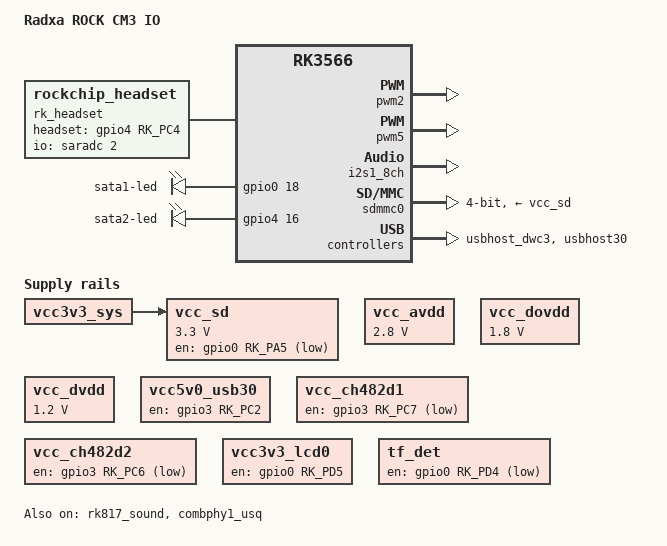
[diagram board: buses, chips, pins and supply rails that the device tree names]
// SPDX-License-Identifier: (GPL-2.0+ OR MIT)
/*
 * Copyright (c) 2020 Rockchip Electronics Co., Ltd.
 * Copyright (c) 2021 Radxa Limited.
 *
 */

/dts-v1/;

#include "rk3566-rock-compute-module-3.dtsi"
#include <dt-bindings/display/drm_mipi_dsi.h>
#include <dt-bindings/display/media-bus-format.h>
//#include "radxa-cm3-raspberrypi-7inch-touchscreen.dtsi"
#include "rk3566-rock-cm3io_219.dtsi"
//#include "rk3566-radxa-cm3io-edp.dtsi"
#include "rk3566-rock-cm3io-10inch-touchscreen.dtsi"
// #include "rk3566-rock-cm3io_8inch-touchscreen.dtsi"
// #include "rk3566-rock-cm3io_jymx1013833281be-display.dtsi"

/ {
	model = "Radxa ROCK CM3 IO";
	compatible = "radxa,rock-cm3-io", "rockchip,rk3566";

	rk_headset: rk-headset {
		compatible = "rockchip_headset";
		headset_gpio = <&gpio4 RK_PC4 GPIO_ACTIVE_HIGH>;
		pinctrl-names = "default";
		pinctrl-0 = <&hp_det>;
		io-channels = <&saradc 2>;    //HP_HOOK引脚
	};

	vcc_avdd: vcc-avdd {
		compatible = "regulator-fixed";
		regulator-name = "vcc_sys";
		regulator-always-on;
		regulator-boot-on;
		regulator-min-microvolt = <2800000>;
		regulator-max-microvolt = <2800000>;
	};

	vcc_dovdd: vcc-dovdd {
		compatible = "regulator-fixed";
		regulator-name = "vcc_sys";
		regulator-always-on;
		regulator-boot-on;
		regulator-min-microvolt = <1800000>;
		regulator-max-microvolt = <1800000>;
	};

	vcc_dvdd: vcc-dvdd {
		compatible = "regulator-fixed";
		regulator-name = "vcc_sys";
		regulator-always-on;
		regulator-boot-on;
		regulator-min-microvolt = <1200000>;
		regulator-max-microvolt = <1200000>;
	};

	vcc5v0_usb30: vcc5v0-usb30-regulator {
		compatible = "regulator-fixed";
		enable-active-high;
		gpio = <&gpio3 RK_PC2 GPIO_ACTIVE_HIGH>;
		pinctrl-names = "default";
		pinctrl-0 = <&vcc5v0_usb30_en>;
		regulator-name = "vcc5v0_usb30";
		regulator-always-on;
		regulator-boot-on;
	};

	vcc_ch482d1: vcc-ch482d1-regulator {
		compatible = "regulator-fixed";
		gpio = <&gpio3 RK_PC7 GPIO_ACTIVE_LOW>;
		pinctrl-names = "default";
		pinctrl-0 = <&ch482d_en1>;
		regulator-name = "vcc_ch482d1";
		regulator-always-on;
		regulator-boot-on;
	};

	vcc_ch482d2: vcc-ch482d2-regulator {
		compatible = "regulator-fixed";
		gpio = <&gpio3 RK_PC6 GPIO_ACTIVE_LOW>;
		pinctrl-names = "default";
		pinctrl-0 = <&ch482d_en2>;
		regulator-name = "vcc_ch482d2";
		regulator-always-on;
		regulator-boot-on;
	};

	vcc3v3_lcd0: vcc3v3-lcd0 {
		compatible = "regulator-fixed";
		regulator-name = "vcc3v3_lcd0";
		gpio = <&gpio0 RK_PD5 GPIO_ACTIVE_HIGH>;
		enable-active-high;
		regulator-boot-on;
		regulator-state-mem {
			regulator-off-in-suspend;
		};
	};

	vcc_sd: sdmmc-regulator {
		compatible = "regulator-fixed";
		gpio = <&gpio0 RK_PA5 GPIO_ACTIVE_LOW>;
		pinctrl-names = "default";
		pinctrl-0 = <&sdmmc_pwren>;
		regulator-name = "vcc_sd";
		regulator-min-microvolt = <3300000>;
		regulator-max-microvolt = <3300000>;
		startup-delay-us = <100000>;
		vin-supply = <&vcc3v3_sys>;
	};

	tf_det: tf-det-regulator {
		compatible = "regulator-fixed";
		enable-active-low;
		gpio = <&gpio0 RK_PD4 GPIO_ACTIVE_LOW>;
		pinctrl-names = "default";
		pinctrl-0 = <&tf_det_en>;
		regulator-name = "tf_det";
		regulator-always-on;
		regulator-boot-on;
	};

	gpio_leds: gpio-leds {
		compatible = "gpio-leds";
		status = "okay";


		sata1-led {
			gpios = <&gpio0 18 GPIO_ACTIVE_HIGH>;
			linux,default-trigger = "nand-disk";
			default-state = "on";
			pinctrl-0 = <&sata1_led>;
		};

		sata2-led {
			gpios = <&gpio4 16 GPIO_ACTIVE_HIGH>;
			linux,default-trigger = "nand-disk";
			default-state = "on";
			pinctrl-0 = <&sata2_led>;
		};
	};
};

&pwm2 {
	status = "okay";	
};

&pwm5 {
	status = "okay";	
};

&rk817_sound {
	status = "okay";
};

&i2s1_8ch {
	status = "okay";
};

&pmu_io_domains {
	/delete-property/ vccio2-supply;
};

&sdmmc0 {
	max-frequency = <150000000>;
	supports-sd;
	bus-width = <4>;
	cap-mmc-highspeed;
	cap-sd-highspeed;
	disable-wp;

	vmmc-supply = <&vcc_sd>;
	vqmmc-supply = <&vccio_sd>;
	pinctrl-names = "default";
	pinctrl-0 = <&sdmmc0_bus4 &sdmmc0_clk &sdmmc0_cmd &sdmmc0_det>;
	status = "okay";
};

&usbhost_dwc3 {
	// usb2.0 only 打下以下
	// phys = <&u2phy0_host>; /* 配置 phys 属性只引用 usb 2.0 phy 节点 */
	// phy-names = "usb2-phy";
	// maximum-speed = "high-speed"; /* 配置 dwc3 控制器最高支持 high speed */
	
	status = "okay";
};

&usbhost30 {
	status = "okay";
};

&combphy1_usq {
	// usb2.0 only 打下以下
	//rockchip,dis-u3otg1-port; /* 配置 dwc3_1 控制器最高支持 high speed */

	status = "okay";
};
&pinctrl {
	ch482d {
		//usb3.0 --> sata1
		ch482d_en1: ch482d-en1 {
			rockchip,pins = <3 RK_PC7 RK_FUNC_GPIO &pcfg_output_low>;
		};

		//pcie2.0 --> sata2
		ch482d_en2: ch482d-en2 {
			rockchip,pins = <3 RK_PC6 RK_FUNC_GPIO &pcfg_output_low>;
		};
	};
	usb {
		vcc5v0_usb30_en: vcc5v0-host-en {
			rockchip,pins = <3 RK_PC2 RK_FUNC_GPIO &pcfg_pull_none>;
		};
	};

	headphone {
		hp_det: hp-det {
			rockchip,pins = <4 RK_PC4 RK_FUNC_GPIO &pcfg_pull_up>;
		};
	};

	leds {
		sata1_led: sata1-led{
			rockchip,pins = <0 RK_PC2 RK_FUNC_GPIO &pcfg_pull_none>;
		};

		sata2_led: sata2-led{
			rockchip,pins = <4 RK_PC0 RK_FUNC_GPIO &pcfg_pull_none>;
		};
	};

	sdcard {
		sdmmc_pwren: sdmmc-pwren {
			rockchip,pins = <0 RK_PA5 RK_FUNC_GPIO &pcfg_pull_none>;
		};

		tf_det_en: tf-det-en {
			rockchip,pins = <0 RK_PD4 RK_FUNC_GPIO &pcfg_output_low>;
		};
	};

	lcd0 {
		lcd0_rst_gpio: lcd0-rst-gpio {
			rockchip,pins = <4 RK_PA2 RK_FUNC_GPIO &pcfg_pull_none>;
		};

		lcd0_enable_gpio: lcd-enable-gpio {
			rockchip,pins = <4 RK_PA3 RK_FUNC_GPIO &pcfg_pull_none>;
		};
	};
};
